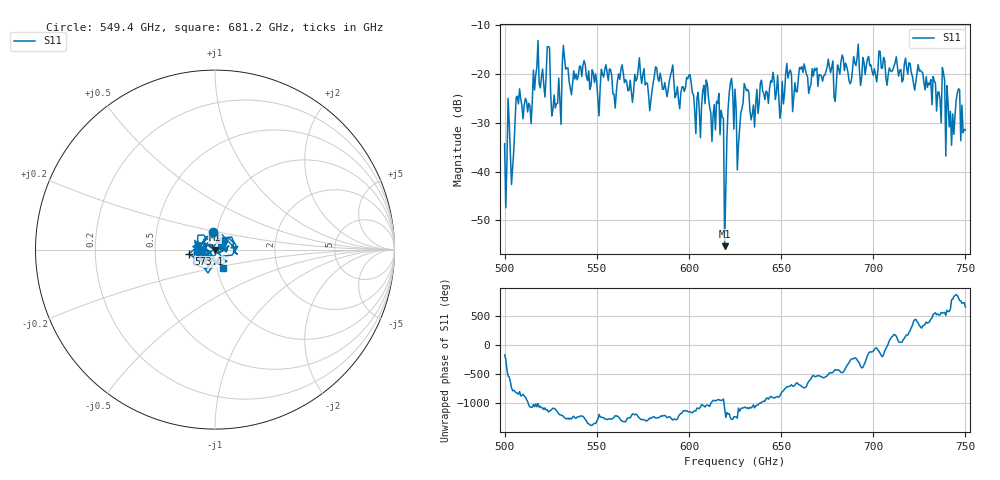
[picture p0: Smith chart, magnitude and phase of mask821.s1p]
!Created with skrf (http://scikit-rf.org).
# GHz S MA R 50.0
!freq magS11 angS11
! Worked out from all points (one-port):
!   401 points, 500 GHz to 750 GHz, reference 50 ohm
!   lowest |S11| = -55.3 dB at 619.4 GHz (marker M1), VSWR 1.00, Z = 50.2 - j0.0275 ohm
!   |S11| at or under -10 dB: start of sweep to end of sweep
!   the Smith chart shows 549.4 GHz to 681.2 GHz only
!   S11 on the Smith chart (normalised r, x): 549.4 GHz: 0.96, +0.19; 573.1 GHz: 0.75, -0.04; 681.2 GHz: 1.07, -0.22
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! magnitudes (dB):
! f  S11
! 500 GHz  -34.3
! 504.4 GHz  -39.2
! 507.5 GHz  -26.1
! 513.8 GHz  -26.5
! 516.9 GHz  -20.2
! 523.8 GHz  -14.4
! 526.9 GHz  -24.3
! 531.2 GHz  -18.2
! 549.4 GHz  -20.0
! 562.5 GHz  -21.1
! 573.1 GHz  -16.7
! 593.8 GHz  -22.6
! 609.4 GHz  -21.2
! 617.5 GHz  -27.5
! 619.4 GHz  -55.3
! 622.5 GHz  -21.9
! 625 GHz  -23.1
! 627.5 GHz  -31.2
! 631.2 GHz  -23.5
! 634.4 GHz  -28.1
! 656.2 GHz  -27.7
! 681.2 GHz  -19.0
! 687.5 GHz  -22.0
! 718.8 GHz  -20.0
! 737.5 GHz  -18.7
! 742.5 GHz  -34.6
! 745.6 GHz  -23.9
! 750 GHz  -31.5
